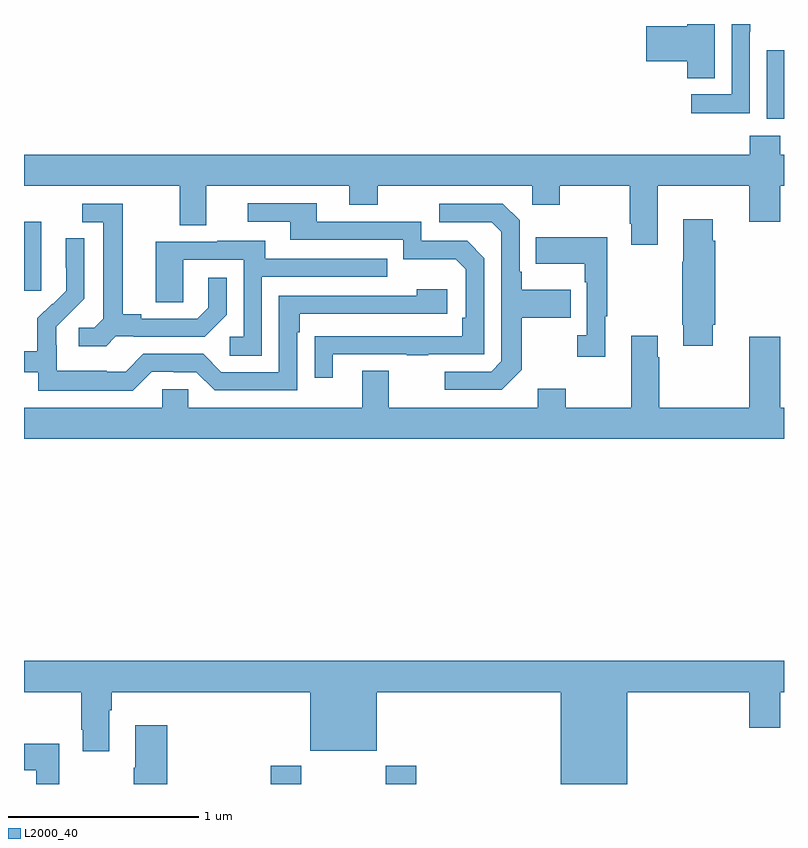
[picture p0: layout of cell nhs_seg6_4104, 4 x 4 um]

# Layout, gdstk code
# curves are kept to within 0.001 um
import gdstk
lib = gdstk.Library(unit=1e-6, precision=1e-09)
def R(c, l, rs):  # rectangles x0, y0, x1, y1
    for r in rs: c.add(gdstk.rectangle(r[:2], r[2:], *l))
def P(c, l, *ps):  # polygons
    for p in ps: c.add(gdstk.Polygon(p, *l))
L2000_40 = (2000, 40)

nhs_seg6_4104 = lib.new_cell('nhs_seg6_4104')
R(nhs_seg6_4104, L2000_40, [(354.299,965.5,354.459,965.596), (354.904,965.5,355.064,965.596), (353,968.097,353.092,968.458), (356.909,969.002,357,969.363)])
P(nhs_seg6_4104, L2000_40, [(356.635,969.5),(356.492,969.5),(356.492,969.488),(356.274,969.488),(356.274,969.305),(356.492,969.305),(356.492,969.214),(356.635,969.214)],
  [(356.82,969.46),(356.823,969.46),(356.823,969.5),(356.724,969.5),(356.724,969.129),(356.511,969.129),(356.511,969.031),(356.82,969.031)],
  [(356.335,968.648),(356.816,968.648),(356.816,968.46),(356.98,968.46),(356.98,968.648),(357,968.648),(357,968.812),(356.979,968.812),(356.979,968.911),(356.819,968.911),(356.819,968.812),(353,968.812),(353,968.648),(353.819,968.648),(353.819,968.44),(353.959,968.44),(353.959,968.648),(354.713,968.648),(354.713,968.549),(354.861,968.549),(354.861,968.648),(355.674,968.648),(355.674,968.549),(355.821,968.549),(355.821,968.648),(356.188,968.648),(356.188,968.449),(356.195,968.449),(356.195,968.337),(356.335,968.337)],
  [(354.625,967.761),(355.015,967.761),(355.015,967.756),(355.127,967.756),(355.127,967.761),(355.422,967.761),(355.422,968.268),(355.332,968.358),(355.092,968.358),(355.092,968.46),(354.541,968.46),(354.541,968.556),(354.177,968.556),(354.177,968.46),(354.401,968.46),(354.401,968.364),(354.996,968.364),(354.996,968.261),(355.273,968.261),(355.326,968.208),(355.326,967.954),(355.306,967.954),(355.306,967.857),(354.529,967.856),(354.529,967.638),(354.625,967.638)],
  [(355.621,967.681),(355.621,967.954),(355.877,967.954),(355.877,968.101),(355.621,968.101),(355.621,968.197),(355.608,968.197),(355.608,968.466),(355.521,968.553),(355.185,968.553),(355.185,968.457),(355.461,968.457),(355.512,968.406),(355.512,967.725),(355.458,967.671),(355.215,967.671),(355.215,967.575),(355.515,967.575)],
  [(353.484,967.857),(353.578,967.857),(353.578,967.854),(353.95,967.854),(354.066,967.97),(354.066,968.164),(353.969,968.164),(353.969,968.007),(353.912,967.95),(353.617,967.95),(353.617,967.973),(353.521,967.973),(353.521,968.553),(353.307,968.553),(353.307,968.457),(353.417,968.457),(353.417,967.949),(353.37,967.902),(353.289,967.902),(353.289,967.805),(353.432,967.805)],
  [(356.626,967.918),(356.639,967.918),(356.639,968.36),(356.626,968.36),(356.626,968.473),(356.471,968.473),(356.471,968.249),(356.464,968.249),(356.464,967.918),(356.471,967.918),(356.471,967.806),(356.626,967.806)],
  [(356.059,967.961),(356.071,967.961),(356.071,968.377),(355.693,968.377),(355.693,968.237),(355.95,968.237),(355.95,968.141),(355.962,968.141),(355.962,967.862),(355.911,967.862),(355.911,967.749),(356.059,967.749)],
  [(353.673,967.671),(353.789,967.671),(353.789,967.668),(353.907,967.668),(354.003,967.572),(354.438,967.572),(354.438,967.877),(354.451,967.877),(354.451,967.974),(355.228,967.974),(355.228,968.104),(355.067,968.104),(355.067,968.07),(354.342,968.07),(354.342,967.668),(354.039,967.668),(353.943,967.764),(353.628,967.764),(353.535,967.671),(353.435,967.671),(353.435,967.675),(353.172,967.675),(353.172,967.809),(353.17,967.809),(353.17,967.906),(353.316,968.054),(353.316,968.372),(353.22,968.372),(353.22,968.218),(353.222,968.218),(353.222,968.096),(353.151,968.025),(353.148,968.028),(353.071,967.951),(353.071,967.777),(353,967.777),(353,967.668),(353.076,967.668),(353.076,967.571),(353.573,967.571)],
  [(354.252,968.169),(354.911,968.169),(354.911,968.265),(354.271,968.265),(354.271,968.359),(354.017,968.359),(354.017,968.355),(353.693,968.355),(353.693,968.035),(353.838,968.035),(353.838,968.259),(354.156,968.259),(354.156,967.854),(354.084,967.854),(354.084,967.753),(354.252,967.753)],
  [(357,967.48),(356.98,967.48),(356.98,967.855),(356.816,967.855),(356.816,967.48),(356.343,967.48),(356.343,967.745),(356.335,967.745),(356.335,967.858),(356.195,967.858),(356.195,967.48),(355.851,967.48),(355.851,967.579),(355.703,967.579),(355.703,967.48),(354.919,967.48),(354.919,967.675),(354.779,967.675),(354.779,967.48),(353.865,967.48),(353.865,967.578),(353.727,967.578),(353.727,967.48),(353,967.48),(353,967.316),(357,967.316)],
  [(356.176,965.984),(356.816,965.984),(356.816,965.796),(356.98,965.796),(356.98,965.984),(357,965.984),(357,966.148),(353,966.148),(353,965.984),(353.302,965.984),(353.302,965.785),(353.309,965.785),(353.309,965.673),(353.449,965.673),(353.449,965.888),(353.462,965.888),(353.462,965.984),(354.506,965.984),(354.506,965.675),(354.856,965.675),(354.856,965.984),(355.826,965.984),(355.826,965.5),(356.176,965.5)],
  [(353.753,965.809),(353.585,965.809),(353.585,965.585),(353.578,965.585),(353.578,965.5),(353.753,965.5)],
  [(353.185,965.713),(353,965.713),(353,965.573),(353.064,965.573),(353.064,965.5),(353.185,965.5)])

lib.write_gds('nhs_seg6_4104.gds')
